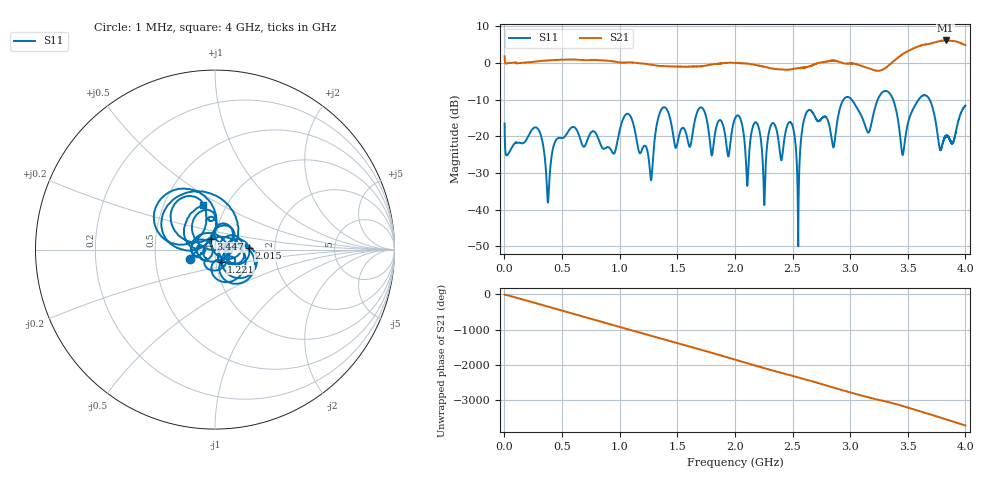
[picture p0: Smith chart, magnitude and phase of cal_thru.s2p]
!Created with skrf (http://scikit-rf.org).
# GHz S RI R 50.0
!freq ReS11 ImS11 ReS21 ImS21 ReS12 ImS12 ReS22 ImS22
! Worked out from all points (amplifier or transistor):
!   4000 points, 1 MHz to 4 GHz, reference 50 ohm
!   highest |S21| = 6.1 dB at 3.828 GHz (marker M1)
!   |S21| within 3 dB of that: 3.494 GHz to end of sweep
!   S11 on the Smith chart (normalised r, x): 1 MHz: 0.75, -0.08; 1.221 GHz: 1.06, -0.14; 2.015 GHz: 1.47, +0.02; 3.447 GHz: 0.95, +0.11; 4 GHz: 0.78, +0.43
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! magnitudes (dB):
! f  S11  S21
! 1 MHz  -16.5  1.8
! 287 MHz  -17.9  0.4
! 378 MHz  -38.0  0.6
! 668 MHz  -21.8  0.8
! 1.221 GHz  -22.6  -0.3
! 1.274 GHz  -31.8  -0.5
! 1.334 GHz  -15.1  -0.8
! 2.001 GHz  -15.1  0.0
! 2.015 GHz  -14.4  -0.1
! 2.107 GHz  -33.5  -0.2
! 2.195 GHz  -16.7  -0.7
! 2.255 GHz  -38.7  -1.1
! 2.315 GHz  -16.8  -1.5
! 2.484 GHz  -16.3  -1.8
! 2.548 GHz  -47.4  -1.4
! 2.667 GHz  -13.3  -0.8
! 2.854 GHz  -23.0  0.6
! 3.334 GHz  -8.1  -0.7
! 3.447 GHz  -24.0  2.2
! 3.638 GHz  -8.8  4.9
! 3.828 GHz  -20.1  6.1
! 4 GHz  -11.7  4.8
